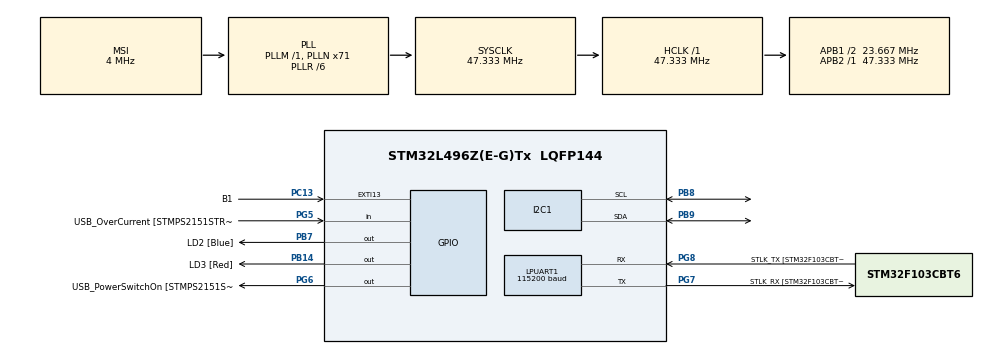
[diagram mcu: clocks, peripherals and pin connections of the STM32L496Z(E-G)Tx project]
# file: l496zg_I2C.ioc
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I2C1.Timing=0x00805B85
LPUART1.BaudRate=115200
LPUART1.WordLength=UART_WORDLENGTH_8B
Mcu.Family=STM32L4
Mcu.Name=STM32L496Z(E-G)Tx
Mcu.Package=LQFP144
NVIC.PriorityGroup=NVIC_PRIORITYGROUP_4
PA10.GPIO_Label=USB_ID
PA10.Signal=USB_OTG_FS_ID
PA11.GPIO_Label=USB_DM
PA11.Signal=USB_OTG_FS_DM
PA12.GPIO_Label=USB_DP
PA12.Signal=USB_OTG_FS_DP
PA13\ (JTMS/SWDIO).GPIO_Label=TMS
PA13\ (JTMS/SWDIO).Mode=Trace_Asynchronous_SW
PA13\ (JTMS/SWDIO).Signal=SYS_JTMS-SWDIO
PA14\ (JTCK/SWCLK).GPIO_Label=TCK
PA14\ (JTCK/SWCLK).Mode=Trace_Asynchronous_SW
PA14\ (JTCK/SWCLK).Signal=SYS_JTCK-SWCLK
PA8.GPIO_Label=USB_SOF [TP1]
PA8.Signal=USB_OTG_FS_SOF
PA9.GPIO_Label=USB_VBUS
PA9.Signal=USB_OTG_FS_VBUS
PB14.GPIO_Label=LD3 [Red]
PB14.Signal=GPIO_Output
PB3\ (JTDO/TRACESWO).GPIO_Label=SWO
PB3\ (JTDO/TRACESWO).Mode=Trace_Asynchronous_SW
PB3\ (JTDO/TRACESWO).Signal=SYS_JTDO-SWO
PB7.GPIO_Label=LD2 [Blue]
PB7.Signal=GPIO_Output
PB8.Mode=I2C
PB8.Signal=I2C1_SCL
PB9.Mode=I2C
PB9.Signal=I2C1_SDA
PC13.GPIO_Label=B1
PC13.Signal=GPXTI13
PC14-OSC32_IN\ (PC14).Mode=LSE-External-Oscillator
PC14-OSC32_IN\ (PC14).Signal=RCC_OSC32_IN
PC15-OSC32_OUT\ (PC15).Mode=LSE-External-Oscillator
PC15-OSC32_OUT\ (PC15).Signal=RCC_OSC32_OUT
PG5.GPIO_Label=USB_OverCurrent [STMPS2151STR_FAULT]
PG5.Signal=GPIO_Input
PG6.GPIO_Label=USB_PowerSwitchOn [STMPS2151STR_EN]
PG6.Signal=GPIO_Output
PG7.GPIO_Label=STLK_RX [STM32F103CBT6_PA3]
PG7.Mode=Asynchronous
PG7.Signal=LPUART1_TX
PG8.GPIO_Label=STLK_TX [STM32F103CBT6_PA2]
PG8.Mode=Asynchronous
PG8.Signal=LPUART1_RX
PH1-OSC_OUT\ (PH1).Signal=RCC_OSC_OUT
ProjectManager.HeapSize=0x200
ProjectManager.StackSize=0x400
ProjectManager.TargetToolchain=STM32CubeIDE
RCC.48MHZClocksFreq_Value=24000000
RCC.ADCFreq_Value=48000000
RCC.AHBFreq_Value=47333333.333333336
RCC.APB1CLKDivider=RCC_HCLK_DIV2
RCC.APB1Freq_Value=23666666.666666668
RCC.APB1TimFreq_Value=47333333.333333336
RCC.APB2Freq_Value=47333333.333333336
RCC.APB2TimFreq_Value=47333333.333333336
RCC.CortexFreq_Value=47333333.333333336
RCC.HCLKFreq_Value=47333333.333333336
RCC.HSE_VALUE=8000000
RCC.HSI48_VALUE=48000000
RCC.HSI_VALUE=16000000
RCC.MSI_VALUE=4000000
RCC.PLLMUL=RCC_PLL_MUL9
RCC.PLLN=71
RCC.PLLR=RCC_PLLR_DIV6
RCC.PLLSAI1N=24
RCC.PRESCALERUSB=RCC_USBCLKSOURCE_PLL_DIV1_5
RCC.SYSCLKFreq_VALUE=47333333.333333336
RCC.SYSCLKSource=RCC_SYSCLKSOURCE_PLLCLK
RCC.SYSCLKSourceVirtual=RCC_SYSCLKSOURCE_PLLCLK
RCC.USBFreq_Value=48000000
RCC.VCOOutputFreq_Value=284000000
board=NUCLEO-L496ZG

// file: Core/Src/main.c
/* USER CODE BEGIN Header */
/**
  ******************************************************************************
  * @file           : main.c
  * @brief          : Main program body
  ******************************************************************************
  * @attention
  *
  * Copyright (c) 2025 STMicroelectronics.
  * All rights reserved.
  *
  * This software is licensed under terms that can be found in the LICENSE file
  * in the root directory of this software component.
  * If no LICENSE file comes with this software, it is provided AS-IS.
  *
  ******************************************************************************
  */
/* USER CODE END Header */
#include "main.h"
#include "stm32l4xx_hal.h"
#include <stdio.h>
#include <stdint.h>

/* USER CODE BEGIN PD */
#define LM73_ADDR (0x4D << 1)
#define MCP79411_ADDR (0x6F << 1)
#define LM73_REG_CTRL 0x04
/* USER CODE END PD */

I2C_HandleTypeDef hi2c1;

UART_HandleTypeDef hlpuart1;

void SystemClock_Config(void);
static void MX_GPIO_Init(void);
static void MX_I2C1_Init(void);
static void MX_LPUART1_UART_Init(void);
/* USER CODE BEGIN PFP */
#define PUTCHAR_PROTOTYPE int __io_putchar(int ch)
/* USER CODE END PFP */

/* USER CODE BEGIN 0 */
void I2C_Scan(void)
{
    char msg[64];
    HAL_StatusTypeDef res;
    int devices = 0;

    printf("Scanning I2C bus...\r\n");

    for (uint16_t addr = 1; addr < 128; addr++)
    {
        // HAL expects 8-bit address, so shift left by 1
        res = HAL_I2C_IsDeviceReady(&hi2c1, (addr << 1), 1, 10);

        if (res == HAL_OK)
        {
            sprintf(msg, "I2C device found at 0x%02X\r\n", addr);
            printf("%s", msg);
            devices++;
        }
        else if (res == HAL_ERROR)
        {
            // ไม่ตอบสนอง -> ข้าม
        }
        else if (res == HAL_TIMEOUT)
        {
            // Timeout -> ข้าม
        }
    }

    if (devices == 0)
    {
        printf("No I2C devices found.\r\n");
    }
    else
    {
        printf("Scan done. %d device(s) found.\r\n", devices);
    }
}

// void lm73Init(void)
// {
//     uint8_t data;

//     // อ่านค่าเดิมจาก CTRL register
//     if (HAL_I2C_Mem_Read(&hi2c1, LM73_ADDR, LM73_REG_CTRL, 1, &data, 1, HAL_MAX_DELAY) != HAL_OK) {
//         printf("LM73 init read failed!\r\n");
//         return;
//     }

//     printf("CTRL before: 0x%02X\r\n", data);

//     // set bit[7:6] = 11
//     data |= (0b11 << 6);

//     if (HAL_I2C_Mem_Write(&hi2c1, LM73_ADDR, LM73_REG_CTRL, 1, &data, 1, HAL_MAX_DELAY) != HAL_OK) {
//         printf("LM73 init write failed!\r\n");
//     }

//     printf("CTRL after : 0x%02X\r\n", data);
// }

uint8_t lm73GetStatus(void)
{
    uint8_t data;
    if (HAL_I2C_Mem_Read(&hi2c1, LM73_ADDR, LM73_REG_CTRL, 1, &data, 1, HAL_MAX_DELAY) != HAL_OK) {
        printf("LM73 status read fail\r\n");
        return 0xFF;
    }
    return data;
}

float lm73GetTemperature()
{
    uint8_t reg = 0x00;          // Register to read temperature
    uint8_t tempBuff[2] = {0};

    // Send register pointer (write)
    if (HAL_I2C_Master_Transmit(&hi2c1, LM73_ADDR, &reg, 1, HAL_MAX_DELAY) != HAL_OK)
    {
        // Handle error (optional)
        return -1000.0f;
    }

    // Read 2 bytes from the LM73
    if (HAL_I2C_Master_Receive(&hi2c1, LM73_ADDR, tempBuff, 2, HAL_MAX_DELAY) != HAL_OK)
    {
        // Handle error (optional)
        return -1000.0f;
    }

    // Temperature decoding
    float tempHigh = (tempBuff[0] & 0x7F) * 2.0f;
    float tempLow = (tempBuff[1] >> 2) * 0.03125f;

    return tempHigh + tempLow;
}

/* Simple BCD -> binary conversion for MCP79411 time fields */
static uint8_t bcd2bin(uint8_t b)
{
  return (uint8_t)(((b >> 4) * 10U) + (b & 0x0F));
}

float mcp79411GetTime(void)
{
  // MCP79411 time registers are BCD encoded. Register 0 has ST bit in bit7.
  uint8_t timeBuff[7];
  if (HAL_I2C_Mem_Read(&hi2c1, MCP79411_ADDR, 0x00, I2C_MEMADD_SIZE_8BIT, timeBuff, 7, HAL_MAX_DELAY) != HAL_OK)
  {
    printf("MCP79411 read fail\r\n");
    return -1000.0f;
  }

  // If oscillator stop bit not set? Bit7 = ST (1 = running). If 0, start it.
  if ((timeBuff[0] & 0x80) == 0)
  {
    uint8_t sec = timeBuff[0] | 0x80; // set ST bit
    if (HAL_I2C_Mem_Write(&hi2c1, MCP79411_ADDR, 0x00, I2C_MEMADD_SIZE_8BIT, &sec, 1, HAL_MAX_DELAY) == HAL_OK)
    {
      printf("MCP79411 oscillator started\r\n");
    }
    else
    {
      printf("MCP79411 start fail\r\n");
    }
    return 0.0f; // not valid time yet
  }

  uint8_t sec_bcd  = (uint8_t)(timeBuff[0] & 0x7F);
  uint8_t min_bcd  = (uint8_t)(timeBuff[1] & 0x7F);
  uint8_t hour_bcd = (uint8_t)(timeBuff[2] & 0x3F); // 24h mode assumed (bit6 = 0)

  uint8_t sec  = bcd2bin(sec_bcd);
  uint8_t min  = bcd2bin(min_bcd);
  uint8_t hour = bcd2bin(hour_bcd);

  if (sec > 59 || min > 59 || hour > 23)
  {
    printf("MCP79411 invalid BCD time (%u:%u:%u)\r\n", hour, min, sec);
    return -1000.0f;
  }

  return (float)hour + (float)min / 60.0f + (float)sec / 3600.0f;
}

// New: read Hours/Minutes/Seconds separately (returns HAL status-style int)
int mcp79411GetHMS(uint8_t *h, uint8_t *m, uint8_t *s)
{
  uint8_t buf[7];
  if (HAL_I2C_Mem_Read(&hi2c1, MCP79411_ADDR, 0x00, I2C_MEMADD_SIZE_8BIT, buf, 7, HAL_MAX_DELAY) != HAL_OK)
    return -1; // I2C error
  if ((buf[0] & 0x80) == 0)
  {
    // Start oscillator if stopped
    uint8_t sec = buf[0] | 0x80;
    HAL_I2C_Mem_Write(&hi2c1, MCP79411_ADDR, 0x00, I2C_MEMADD_SIZE_8BIT, &sec, 1, HAL_MAX_DELAY);
    return -2; // oscillator was stopped
  }
  uint8_t sec  = bcd2bin((uint8_t)(buf[0] & 0x7F));
  uint8_t min  = bcd2bin((uint8_t)(buf[1] & 0x7F));
  uint8_t hour = bcd2bin((uint8_t)(buf[2] & 0x3F));
  if (sec > 59 || min > 59 || hour > 23)
    return -3; // invalid data
  *s = sec; *m = min; *h = hour;
  return 0;
}

/* USER CODE END 0 */

int main(void)
{

  /* MCU Configuration--------------------------------------------------------*/

  /* Reset of all peripherals, Initializes the Flash interface and the Systick. */
  HAL_Init();

  /* Configure the system clock */
  SystemClock_Config();

  /* Initialize all configured peripherals */
  MX_GPIO_Init();
  MX_I2C1_Init();
  MX_LPUART1_UART_Init();
  /* USER CODE BEGIN 2 */

  I2C_Scan();

  /* USER CODE END 2 */

  /* Infinite loop */
  /* USER CODE BEGIN WHILE */
  while (1)
  {
    printf("-----LM73----\r\n");
    printf("Get Status read : 0x%02X\r\n",lm73GetStatus());
    printf("Get Temperature read : %.2f\r\n",lm73GetTemperature());
    printf("-----end-----\r\n");
    HAL_Delay(500);
    printf("---MCP79411--\r\n");
    uint8_t hh, mm, ss; int tstat = mcp79411GetHMS(&hh,&mm,&ss);
    if (tstat == 0)
      printf("Time: %02u:%02u:%02u\r\n", hh, mm, ss);
    else if (tstat == -2)
      printf("RTC oscillator started, time not valid yet\r\n");
    else
      printf("RTC read error (%d)\r\n", tstat);
    printf("-----end-----\r\n");
    HAL_Delay(1500);

    /* USER CODE END WHILE */

  }
}

void SystemClock_Config(void)
{
  RCC_OscInitTypeDef RCC_OscInitStruct = {0};
  RCC_ClkInitTypeDef RCC_ClkInitStruct = {0};

  /** Configure the main internal regulator output voltage
  */
  if (HAL_PWREx_ControlVoltageScaling(PWR_REGULATOR_VOLTAGE_SCALE1) != HAL_OK)
  {
    Error_Handler();
  }

  /** Initializes the RCC Oscillators according to the specified parameters
  * in the RCC_OscInitTypeDef structure.
  */
  RCC_OscInitStruct.OscillatorType = RCC_OSCILLATORTYPE_MSI;
  RCC_OscInitStruct.MSIState = RCC_MSI_ON;
  RCC_OscInitStruct.MSICalibrationValue = 0;
  RCC_OscInitStruct.MSIClockRange = RCC_MSIRANGE_6;
  RCC_OscInitStruct.PLL.PLLState = RCC_PLL_ON;
  RCC_OscInitStruct.PLL.PLLSource = RCC_PLLSOURCE_MSI;
  RCC_OscInitStruct.PLL.PLLM = 1;
  RCC_OscInitStruct.PLL.PLLN = 71;
  RCC_OscInitStruct.PLL.PLLP = RCC_PLLP_DIV2;
  RCC_OscInitStruct.PLL.PLLQ = RCC_PLLQ_DIV2;
  RCC_OscInitStruct.PLL.PLLR = RCC_PLLR_DIV6;
  if (HAL_RCC_OscConfig(&RCC_OscInitStruct) != HAL_OK)
  {
    Error_Handler();
  }

  /** Initializes the CPU, AHB and APB buses clocks
  */
  RCC_ClkInitStruct.ClockType = RCC_CLOCKTYPE_HCLK|RCC_CLOCKTYPE_SYSCLK
                              |RCC_CLOCKTYPE_PCLK1|RCC_CLOCKTYPE_PCLK2;
  RCC_ClkInitStruct.SYSCLKSource = RCC_SYSCLKSOURCE_PLLCLK;
  RCC_ClkInitStruct.AHBCLKDivider = RCC_SYSCLK_DIV1;
  RCC_ClkInitStruct.APB1CLKDivider = RCC_HCLK_DIV2;
  RCC_ClkInitStruct.APB2CLKDivider = RCC_HCLK_DIV1;

  if (HAL_RCC_ClockConfig(&RCC_ClkInitStruct, FLASH_LATENCY_2) != HAL_OK)
  {
    Error_Handler();
  }
}

static void MX_I2C1_Init(void)
{

  hi2c1.Instance = I2C1;
  hi2c1.Init.Timing = 0x00805B85;
  hi2c1.Init.OwnAddress1 = 0;
  hi2c1.Init.AddressingMode = I2C_ADDRESSINGMODE_7BIT;
  hi2c1.Init.DualAddressMode = I2C_DUALADDRESS_DISABLE;
  hi2c1.Init.OwnAddress2 = 0;
  hi2c1.Init.OwnAddress2Masks = I2C_OA2_NOMASK;
  hi2c1.Init.GeneralCallMode = I2C_GENERALCALL_DISABLE;
  hi2c1.Init.NoStretchMode = I2C_NOSTRETCH_DISABLE;
  if (HAL_I2C_Init(&hi2c1) != HAL_OK)
  {
    Error_Handler();
  }

  /** Configure Analogue filter
  */
  if (HAL_I2CEx_ConfigAnalogFilter(&hi2c1, I2C_ANALOGFILTER_ENABLE) != HAL_OK)
  {
    Error_Handler();
  }

  /** Configure Digital filter
  */
  if (HAL_I2CEx_ConfigDigitalFilter(&hi2c1, 0) != HAL_OK)
  {
    Error_Handler();
  }

}

static void MX_LPUART1_UART_Init(void)
{

  hlpuart1.Instance = LPUART1;
  hlpuart1.Init.BaudRate = 115200;
  hlpuart1.Init.WordLength = UART_WORDLENGTH_8B;
  hlpuart1.Init.StopBits = UART_STOPBITS_1;
  hlpuart1.Init.Parity = UART_PARITY_NONE;
  hlpuart1.Init.Mode = UART_MODE_TX_RX;
  hlpuart1.Init.HwFlowCtl = UART_HWCONTROL_NONE;
  hlpuart1.Init.OneBitSampling = UART_ONE_BIT_SAMPLE_DISABLE;
  hlpuart1.AdvancedInit.AdvFeatureInit = UART_ADVFEATURE_NO_INIT;
  if (HAL_UART_Init(&hlpuart1) != HAL_OK)
  {
    Error_Handler();
  }

}

static void MX_GPIO_Init(void)
{
  GPIO_InitTypeDef GPIO_InitStruct = {0};
  /* USER CODE BEGIN MX_GPIO_Init_1 */

  /* USER CODE END MX_GPIO_Init 1 */

  /* GPIO Ports Clock Enable */
  __HAL_RCC_GPIOC_CLK_ENABLE();
  __HAL_RCC_GPIOH_CLK_ENABLE();
  __HAL_RCC_GPIOB_CLK_ENABLE();
  __HAL_RCC_GPIOG_CLK_ENABLE();
  HAL_PWREx_EnableVddIO2();
  __HAL_RCC_GPIOA_CLK_ENABLE();

  /*Configure GPIO pin Output Level */
  HAL_GPIO_WritePin(GPIOB, LD3_Pin|LD2_Pin, GPIO_PIN_RESET);

  /*Configure GPIO pin Output Level */
  HAL_GPIO_WritePin(USB_PowerSwitchOn_GPIO_Port, USB_PowerSwitchOn_Pin, GPIO_PIN_RESET);

  /*Configure GPIO pin : B1_Pin */
  GPIO_InitStruct.Pin = B1_Pin;
  GPIO_InitStruct.Mode = GPIO_MODE_IT_RISING;
  GPIO_InitStruct.Pull = GPIO_NOPULL;
  HAL_GPIO_Init(B1_GPIO_Port, &GPIO_InitStruct);

  /*Configure GPIO pins : LD3_Pin LD2_Pin */
  GPIO_InitStruct.Pin = LD3_Pin|LD2_Pin;
  GPIO_InitStruct.Mode = GPIO_MODE_OUTPUT_PP;
  GPIO_InitStruct.Pull = GPIO_NOPULL;
  GPIO_InitStruct.Speed = GPIO_SPEED_FREQ_LOW;
  HAL_GPIO_Init(GPIOB, &GPIO_InitStruct);

  /*Configure GPIO pin : USB_OverCurrent_Pin */
  GPIO_InitStruct.Pin = USB_OverCurrent_Pin;
  GPIO_InitStruct.Mode = GPIO_MODE_INPUT;
  GPIO_InitStruct.Pull = GPIO_NOPULL;
  HAL_GPIO_Init(USB_OverCurrent_GPIO_Port, &GPIO_InitStruct);

  /*Configure GPIO pin : USB_PowerSwitchOn_Pin */
  GPIO_InitStruct.Pin = USB_PowerSwitchOn_Pin;
  GPIO_InitStruct.Mode = GPIO_MODE_OUTPUT_PP;
  GPIO_InitStruct.Pull = GPIO_NOPULL;
  GPIO_InitStruct.Speed = GPIO_SPEED_FREQ_LOW;
  HAL_GPIO_Init(USB_PowerSwitchOn_GPIO_Port, &GPIO_InitStruct);

  /*Configure GPIO pins : USB_SOF_Pin USB_ID_Pin USB_DM_Pin USB_DP_Pin */
  GPIO_InitStruct.Pin = USB_SOF_Pin|USB_ID_Pin|USB_DM_Pin|USB_DP_Pin;
  GPIO_InitStruct.Mode = GPIO_MODE_AF_PP;
  GPIO_InitStruct.Pull = GPIO_NOPULL;
  GPIO_InitStruct.Speed = GPIO_SPEED_FREQ_VERY_HIGH;
  GPIO_InitStruct.Alternate = GPIO_AF10_OTG_FS;
  HAL_GPIO_Init(GPIOA, &GPIO_InitStruct);

}

/* USER CODE BEGIN 4 */
PUTCHAR_PROTOTYPE
{
  /* Place your implementation of fputc here */
  /* e.g. write a character to the USART1 and Loop until the end of transmission */
  HAL_UART_Transmit(&hlpuart1, (uint8_t *)&ch, 1, 0xFFFF);

  return ch;
}
/* USER CODE END 4 */

void Error_Handler(void)
{
  __disable_irq();
  while (1)
  {
  }
}
